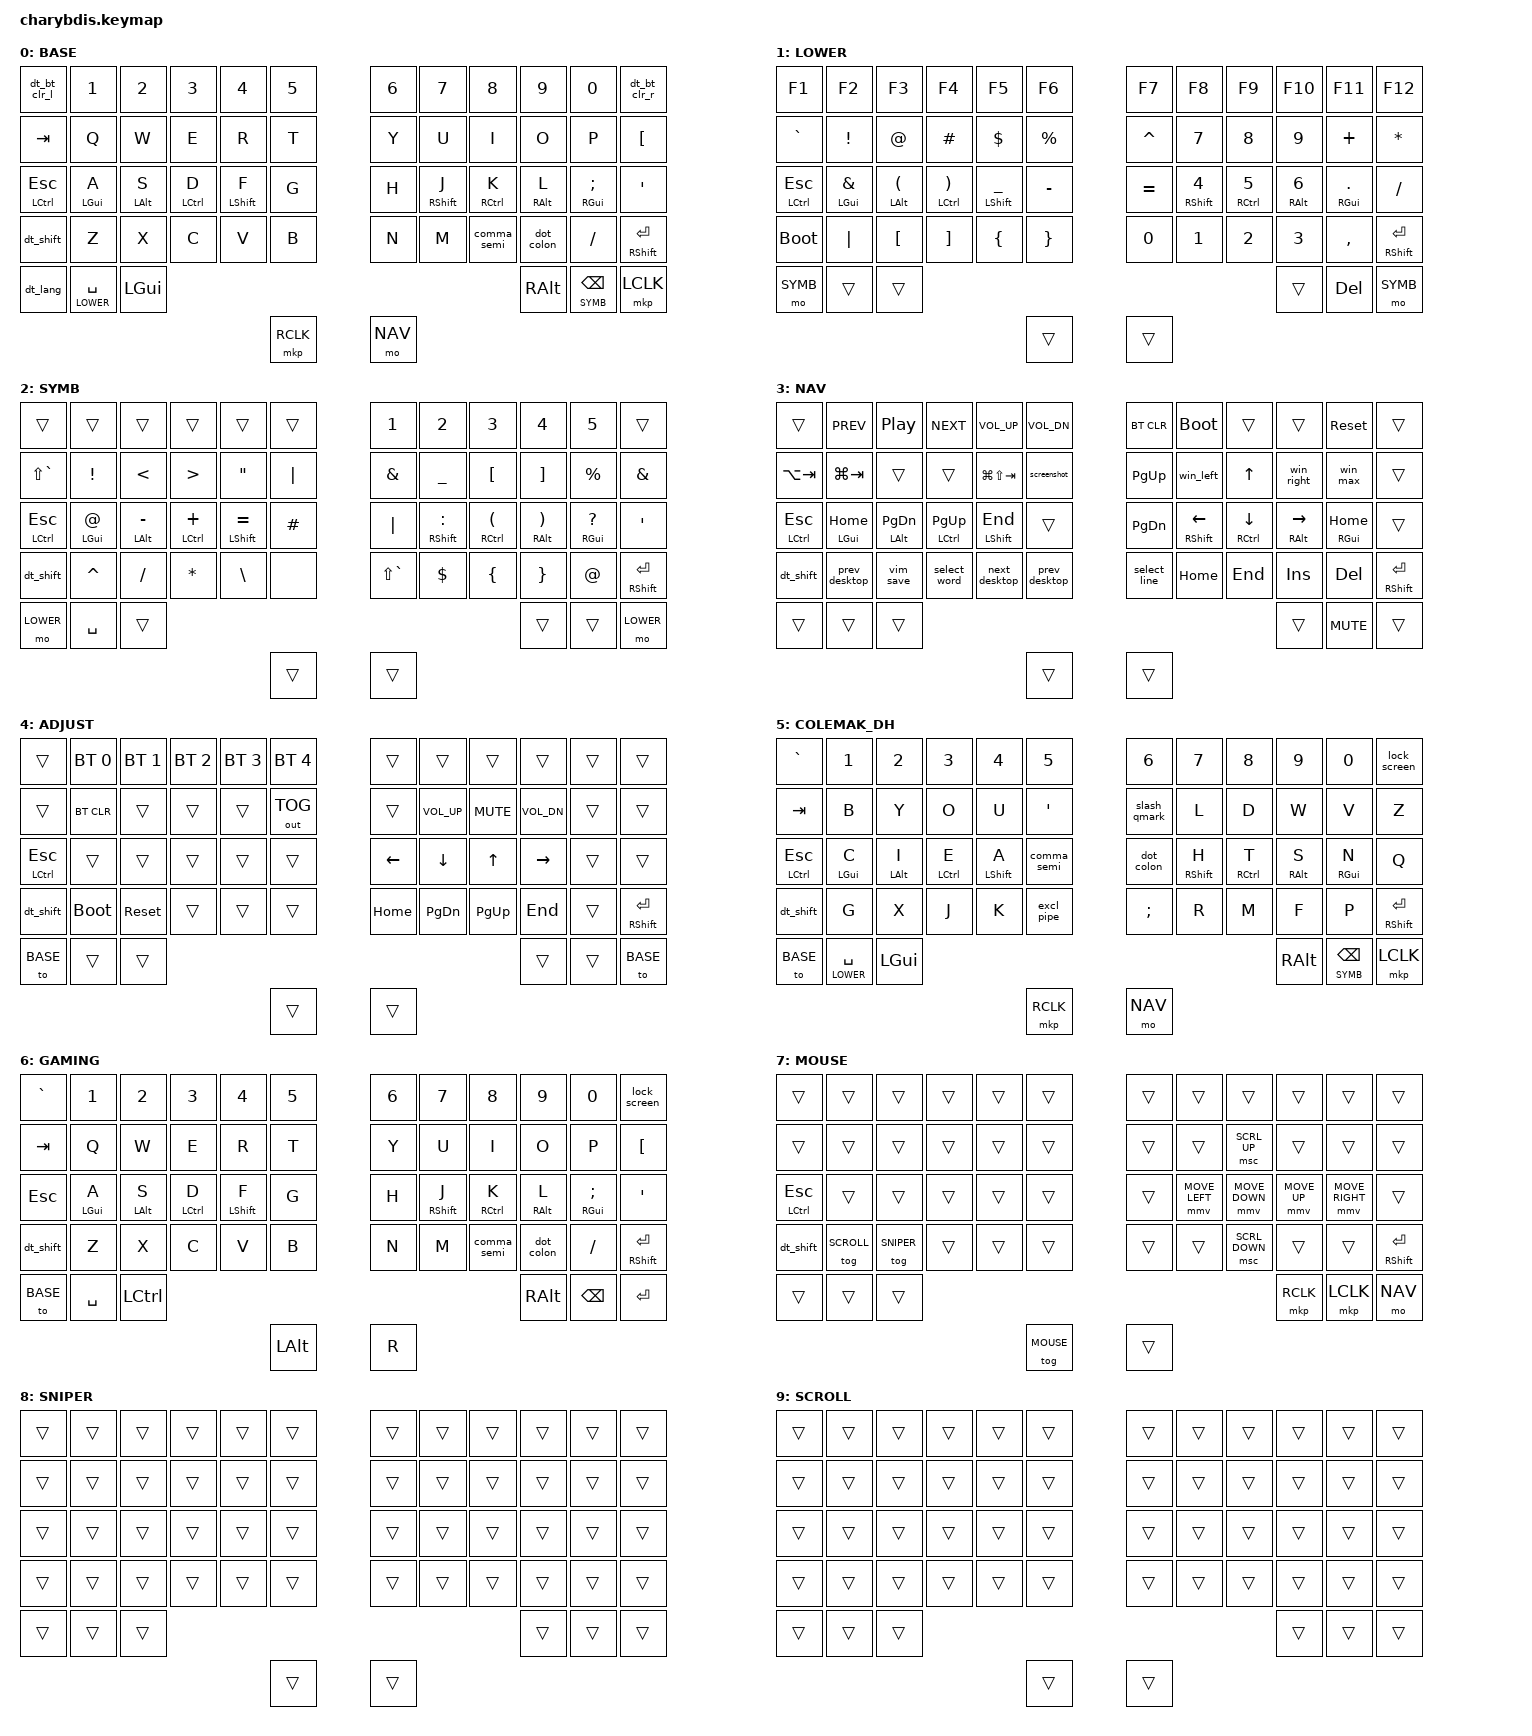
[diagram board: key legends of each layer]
/*
    Исправленный ZMK конфиг для Charybdis 4x6
    Адаптирован для совместимости с вашей версией ZMK
    Copyright (c) 2023 The ZMK Contributors
    SPDX-License-Identifier: MIT
*/

#include <behaviors.dtsi>
#include <dt-bindings/zmk/keys.h>
#include <dt-bindings/zmk/bt.h>
#include <dt-bindings/zmk/outputs.h>
#include <dt-bindings/zmk/mouse.h>

#define BASE 0
#define LOWER 1
#define SYMB 2
#define NAV 3
#define ADJUST 4
#define COLEMAK_DH 5
#define GAMING 6
#define MOUSE 7
#define SNIPER 8
#define SCROLL 9

// Оптимизированные глобальные настройки
&lt {
    tapping-term-ms = <180>;
    quick-tap-ms = <120>;
    flavor = "balanced";
};

&mt {
    tapping-term-ms = <190>;
    quick-tap-ms = <120>;
    flavor = "balanced";
};

&sk {
    release-after-ms = <1500>;
    quick-release;
};

&caps_word {
    continue-list = <UNDERSCORE MINUS BACKSPACE DELETE>;
};

/ {
    combos {
        compatible = "zmk,combos";
        
        // Частые символы одной рукой (только QWERTY слой)
        combo_esc {
            timeout-ms = <40>;
            key-positions = <13 14>;
            bindings = <&kp ESC>;
            layers = <BASE>;
        };
        
        combo_tab {
            timeout-ms = <40>;
            key-positions = <25 26>;
            bindings = <&kp TAB>;
            layers = <BASE>;
        };
        
        combo_enter {
            timeout-ms = <40>;
            key-positions = <33 34>;
            bindings = <&kp ENTER>;
            layers = <BASE>;
        };
        
        combo_del {
            timeout-ms = <40>;
            key-positions = <21 22>;
            bindings = <&kp DEL>;
            layers = <BASE>;
        };
        
        // Скобки разных типов (только QWERTY слой)
        combo_lpar {
            timeout-ms = <40>;
            key-positions = <15 16>;
            bindings = <&kp LPAR>;
            layers = <BASE>;
        };
        
        combo_rpar {
            timeout-ms = <40>;
            key-positions = <19 20>;
            bindings = <&kp RPAR>;
            layers = <BASE>;
        };
        
        combo_lbkt {
            timeout-ms = <40>;
            key-positions = <3 4>;
            bindings = <&kp LBKT>;
            layers = <BASE>;
        };
        
        combo_rbkt {
            timeout-ms = <40>;
            key-positions = <7 8>;
            bindings = <&kp RBKT>;
            layers = <BASE>;
        };
        
        combo_lbrc {
            timeout-ms = <40>;
            key-positions = <27 28>;
            bindings = <&kp LBRC>;
            layers = <BASE>;
        };
        
        combo_rbrc {
            timeout-ms = <40>;
            key-positions = <31 32>;
            bindings = <&kp RBRC>;
            layers = <BASE>;
        };
        
        // Специальные функции (только QWERTY слой)
        combo_caps_word {
            timeout-ms = <40>;
            key-positions = <16 19>;
            bindings = <&caps_word>;
            layers = <BASE>;
        };
        
        combo_cut {
            timeout-ms = <40>;
            key-positions = <26 27>;
            bindings = <&kp LC(X)>;
            layers = <BASE>;
        };
        
        combo_copy {
            timeout-ms = <40>;
            key-positions = <27 28>;
            bindings = <&kp LC(C)>;
            layers = <BASE>;
        };
        
        combo_paste {
            timeout-ms = <40>;
            key-positions = <28 29>;
            bindings = <&kp LC(V)>;
            layers = <BASE>;
        };
        
        combo_undo {
            timeout-ms = <40>;
            key-positions = <25 27>;
            bindings = <&kp LC(Z)>;
            layers = <BASE>;
        };
        
        combo_redo {
            timeout-ms = <40>;
            key-positions = <25 28>;
            bindings = <&kp LC(LS(Z))>;
            layers = <BASE>;
        };
        
        // Частые символы программирования (только QWERTY слой)
        combo_arrow {
            timeout-ms = <40>;
            key-positions = <20 21>;
            bindings = <&arrow_macro>;
            layers = <BASE>;
        };
        
        combo_fat_arrow {
            timeout-ms = <40>;
            key-positions = <32 33>;
            bindings = <&fat_arrow_macro>;
            layers = <BASE>;
        };

        // VS Code и vim комбинации (только QWERTY слой)
        combo_vscode_terminal {
            timeout-ms = <40>;
            key-positions = <14 15>;
            bindings = <&vscode_terminal>;
            layers = <BASE>;
        };

        combo_vscode_explorer {
            timeout-ms = <40>;
            key-positions = <15 16>;
            bindings = <&vscode_explorer>;
            layers = <BASE>;
        };

        combo_vscode_search {
            timeout-ms = <40>;
            key-positions = <16 17>;
            bindings = <&vscode_search>;
            layers = <BASE>;
        };

        combo_vscode_format {
            timeout-ms = <40>;
            key-positions = <17 18>;
            bindings = <&vscode_format>;
            layers = <BASE>;
        };

        combo_duplicate_line {
            timeout-ms = <40>;
            key-positions = <18 19>;
            bindings = <&duplicate_line>;
            layers = <BASE>;
        };

        combo_delete_line {
            timeout-ms = <40>;
            key-positions = <19 20>;
            bindings = <&delete_line>;
            layers = <BASE>;
        };

        combo_goto_definition {
            timeout-ms = <40>;
            key-positions = <20 21>;
            bindings = <&vscode_goto_definition>;
            layers = <BASE>;
        };

        combo_references {
            timeout-ms = <40>;
            key-positions = <21 22>;
            bindings = <&vscode_references>;
            layers = <BASE>;
        };

        // Комбинации для управления задачами (только QWERTY слой)
        combo_slack {
            timeout-ms = <40>;
            key-positions = <22 23>;
            bindings = <&slack_toggle>;
            layers = <BASE>;
        };

        combo_spotlight {
            timeout-ms = <40>;
            key-positions = <23 24>;
            bindings = <&spotlight>;
            layers = <BASE>;
        };

        // Vim комбинации (только QWERTY слой)
        combo_vim_save {
            timeout-ms = <40>;
            key-positions = <24 25>;
            bindings = <&vim_save>;
            layers = <BASE>;
        };

        combo_vim_quit {
            timeout-ms = <40>;
            key-positions = <25 26>;
            bindings = <&macro_press &kp LGUI &macro_tap &kp Q &macro_release &kp LGUI>;
            layers = <BASE>;
        };

        combo_vim_split {
            timeout-ms = <40>;
            key-positions = <26 27>;
            bindings = <&macro_press &kp LGUI &macro_tap &kp W &macro_tap &kp S &macro_release &kp LGUI>;
            layers = <BASE>;
        };

        combo_vim_vsplit {
            timeout-ms = <40>;
            key-positions = <27 28>;
            bindings = <&macro_press &kp LGUI &macro_tap &kp W &macro_tap &kp V &macro_release &kp LGUI>;
            layers = <BASE>;
        };

        // Дополнительные комбинации для VS Code (только QWERTY слой)
        combo_vscode_comment {
            timeout-ms = <40>;
            key-positions = <28 29>;
            bindings = <&vscode_comment_line>;
            layers = <BASE>;
        };

        combo_vscode_sidebar {
            timeout-ms = <40>;
            key-positions = <29 30>;
            bindings = <&vscode_toggle_sidebar>;
            layers = <BASE>;
        };

        combo_vscode_panel {
            timeout-ms = <40>;
            key-positions = <30 31>;
            bindings = <&vscode_toggle_panel>;
            layers = <BASE>;
        };

        combo_vscode_quick_open {
            timeout-ms = <40>;
            key-positions = <31 32>;
            bindings = <&vscode_quick_open>;
            layers = <BASE>;
        };

        combo_vscode_symbol_search {
            timeout-ms = <40>;
            key-positions = <32 33>;
            bindings = <&vscode_symbol_search>;
            layers = <BASE>;
        };

        combo_vscode_rename {
            timeout-ms = <40>;
            key-positions = <33 34>;
            bindings = <&vscode_rename_symbol>;
            layers = <BASE>;
        };

        combo_vscode_problems {
            timeout-ms = <40>;
            key-positions = <34 35>;
            bindings = <&vscode_show_problems>;
            layers = <BASE>;
        };

        // Комбинации для управления окнами macOS (только QWERTY слой)
        combo_app_expose {
            timeout-ms = <40>;
            key-positions = <35 36>;
            bindings = <&app_expose>;
            layers = <BASE>;
        };

        combo_mission_control {
            timeout-ms = <40>;
            key-positions = <36 37>;
            bindings = <&mission_control>;
            layers = <BASE>;
        };

        combo_app_switch {
            timeout-ms = <40>;
            key-positions = <37 38>;
            bindings = <&app_switch>;
            layers = <BASE>;
        };

        combo_reverse_app_switch {
            timeout-ms = <40>;
            key-positions = <38 39>;
            bindings = <&reverse_app_switch>;
            layers = <BASE>;
        };

        // Комбинации для работы с текстом (только QWERTY слой)
        combo_select_all {
            timeout-ms = <40>;
            key-positions = <39 40>;
            bindings = <&select_all>;
            layers = <BASE>;
        };

        combo_copy_all {
            timeout-ms = <40>;
            key-positions = <40 41>;
            bindings = <&copy_all>;
            layers = <BASE>;
        };

        combo_paste_plain {
            timeout-ms = <40>;
            key-positions = <41 42>;
            bindings = <&paste_without_formatting>;
            layers = <BASE>;
        };

        // Комбинации для браузера (только QWERTY слой)
        combo_browser_refresh {
            timeout-ms = <40>;
            key-positions = <42 43>;
            bindings = <&browser_refresh>;
            layers = <BASE>;
        };

        combo_browser_dev_tools {
            timeout-ms = <40>;
            key-positions = <0 1>;
            bindings = <&browser_dev_tools>;
            layers = <BASE>;
        };

        combo_browser_find {
            timeout-ms = <40>;
            key-positions = <1 2>;
            bindings = <&browser_find>;
            layers = <BASE>;
        };

        // Комбинации для управления задачами (только QWERTY слой)
        combo_todoist {
            timeout-ms = <40>;
            key-positions = <2 3>;
            bindings = <&todoist_toggle>;
            layers = <BASE>;
        };

        combo_notion {
            timeout-ms = <40>;
            key-positions = <3 4>;
            bindings = <&notion_toggle>;
            layers = <BASE>;
        };

        // Комбинации для системных функций (только QWERTY слой)
        combo_force_quit {
            timeout-ms = <40>;
            key-positions = <4 5>;
            bindings = <&force_quit>;
            layers = <BASE>;
        };

        combo_emoji {
            timeout-ms = <40>;
            key-positions = <5 6>;
            bindings = <&emoji_picker>;
            layers = <BASE>;
        };
    };

    behaviors {
        // Улучшенные home row mods
        hml: homerow_mods_left {
            compatible = "zmk,behavior-hold-tap";
            #binding-cells = <2>;
            tapping-term-ms = <280>;
            quick-tap-ms = <175>;
            flavor = "balanced";
            bindings = <&kp>, <&kp>;
            hold-trigger-key-positions = <6 7 8 9 10 11 18 19 20 21 22 23 30 31 32 33 34 35 39 40 41 42 43>;
            hold-trigger-on-release;
        };

        hmr: homerow_mods_right {
            compatible = "zmk,behavior-hold-tap";
            #binding-cells = <2>;
            tapping-term-ms = <280>;
            quick-tap-ms = <175>;
            flavor = "balanced";
            bindings = <&kp>, <&kp>;
            hold-trigger-key-positions = <0 1 2 3 4 5 12 13 14 15 16 17 24 25 26 27 28 29 36 37 38>;
            hold-trigger-on-release;
        };
        
        // Улучшенный Ctrl/Esc
        mt_lctl_esc: mt_lctl_esc {
            compatible = "zmk,behavior-hold-tap";
            #binding-cells = <2>;
            tapping-term-ms = <175>;
            quick-tap-ms = <120>;
            flavor = "balanced";
            bindings = <&kp>, <&kp>;
        };

        mt_rsft_ent: mt_rsft_ent {
            compatible = "zmk,behavior-hold-tap";
            #binding-cells = <2>;
            tapping-term-ms = <190>;
            quick-tap-ms = <120>;
            flavor = "balanced";
            bindings = <&kp>, <&kp>;
        };

        // Sticky keys с настройками для комфорта
        ss: sticky_shift {
            compatible = "zmk,behavior-sticky-key";
            #binding-cells = <1>;
            bindings = <&kp>;
            release-after-ms = <1200>;
            quick-release;
        };
        
        // Интеллектуальная смена слоя/клавиши
        smart_layer: smart_layer {
            compatible = "zmk,behavior-hold-tap";
            #binding-cells = <2>;
            tapping-term-ms = <190>;
            quick-tap-ms = <120>;
            flavor = "balanced";
            bindings = <&mo>, <&kp>;
        };

        // Tap dance для множественных функций
        dt_lang: dt_lang {
            compatible = "zmk,behavior-tap-dance";
            #binding-cells = <0>;
            tapping-term-ms = <250>;
            bindings = <&lang_switch>, <&to COLEMAK_DH>, <&to GAMING>;
        };
        
        dt_shift: dt_shift {
            compatible = "zmk,behavior-tap-dance";
            #binding-cells = <0>;
            tapping-term-ms = <200>;
            bindings = <&ss LSHFT>, <&caps_word>, <&kp CAPS>;
        };

        // Tap dance для VS Code и vim
        dt_esc: dt_esc {
            compatible = "zmk,behavior-tap-dance";
            #binding-cells = <0>;
            tapping-term-ms = <200>;
            bindings = <&kp ESC>, <&vim_save>, <&vscode_command_palette>;
        };

        dt_tab: dt_tab {
            compatible = "zmk,behavior-tap-dance";
            #binding-cells = <0>;
            tapping-term-ms = <200>;
            bindings = <&kp TAB>, <&new_tab>, <&close_tab>;
        };

        dt_enter: dt_enter {
            compatible = "zmk,behavior-tap-dance";
            #binding-cells = <0>;
            tapping-term-ms = <200>;
            bindings = <&kp ENTER>, <&vscode_terminal>, <&vscode_git>;
        };

        dt_space: dt_space {
            compatible = "zmk,behavior-tap-dance";
            #binding-cells = <0>;
            tapping-term-ms = <200>;
            bindings = <&kp SPACE>, <&vscode_search>, <&spotlight>;
        };

        // BT Clear tap-dance (5 taps) — работает независимо на каждой половине
        dt_bt_clr_l: dt_bt_clr_l {
            compatible = "zmk,behavior-tap-dance";
            #binding-cells = <0>;
            tapping-term-ms = <350>;
            bindings = <&kp GRAVE>, <&none>, <&none>, <&none>, <&bt BT_CLR>;
        };

        dt_bt_clr_r: dt_bt_clr_r {
            compatible = "zmk,behavior-tap-dance";
            #binding-cells = <0>;
            tapping-term-ms = <350>;
            bindings = <&lock_screen>, <&none>, <&none>, <&none>, <&bt BT_CLR>;
        };

        // Mod morphs для символов
        comma_semi: comma_semicolon {
            compatible = "zmk,behavior-mod-morph";
            #binding-cells = <0>;
            bindings = <&kp COMMA>, <&kp SEMICOLON>;
            mods = <(MOD_LSFT|MOD_RSFT)>;
        };

        dot_colon: dot_colon {
            compatible = "zmk,behavior-mod-morph";
            #binding-cells = <0>;
            bindings = <&kp DOT>, <&kp COLON>;
            mods = <(MOD_LSFT|MOD_RSFT)>;
        };
        
        slash_qmark: slash_question {
            compatible = "zmk,behavior-mod-morph";
            #binding-cells = <0>;
            bindings = <&kp FSLH>, <&kp QMARK>;
            mods = <(MOD_LSFT|MOD_RSFT)>;
        };
        
        excl_pipe: exclamation_pipe {
            compatible = "zmk,behavior-mod-morph";
            #binding-cells = <0>;
            bindings = <&kp EXCL>, <&kp PIPE>;
            mods = <(MOD_LSFT|MOD_RSFT)>;
        };
    };

    macros {
        // Переключение языка
        lang_switch: lang_switch {
            compatible = "zmk,behavior-macro";
            #binding-cells = <0>;
            wait-ms = <0>;
            tap-ms = <5>;
            bindings = <&macro_press &kp LGUI>,
                       <&macro_tap &kp SPACE>,
                       <&macro_release &kp LGUI>;
        };

        // Блокировка экрана macOS
        lock_screen: lock_screen {
            compatible = "zmk,behavior-macro";
            #binding-cells = <0>;
            wait-ms = <0>;
            tap-ms = <5>;
            bindings = <&macro_press &kp LGUI &kp LCTRL>,
                       <&macro_tap &kp Q>,
                       <&macro_release &kp LGUI &kp LCTRL>;
        };

        // Навигация по рабочим столам
        next_desktop: next_desktop {
            compatible = "zmk,behavior-macro";
            #binding-cells = <0>;
            wait-ms = <0>;
            tap-ms = <5>;
            bindings = <&macro_press &kp LCTRL>,
                       <&macro_tap &kp RIGHT>,
                       <&macro_release &kp LCTRL>;
        };

        prev_desktop: prev_desktop {
            compatible = "zmk,behavior-macro";
            #binding-cells = <0>;
            wait-ms = <0>;
            tap-ms = <5>;
            bindings = <&macro_press &kp LCTRL>,
                       <&macro_tap &kp LEFT>,
                       <&macro_release &kp LCTRL>;
        };

        // Оконный менеджмент
        win_max: window_maximize {
            compatible = "zmk,behavior-macro";
            #binding-cells = <0>;
            wait-ms = <0>;
            tap-ms = <5>;
            bindings = <&macro_press &kp LGUI>,
                       <&macro_tap &kp UP>,
                       <&macro_release &kp LGUI>;
        };

        win_left: window_left {
            compatible = "zmk,behavior-macro";
            #binding-cells = <0>;
            wait-ms = <0>;
            tap-ms = <5>;
            bindings = <&macro_press &kp LGUI>,
                       <&macro_tap &kp LEFT>,
                       <&macro_release &kp LGUI>;
        };

        win_right: window_right {
            compatible = "zmk,behavior-macro";
            #binding-cells = <0>;
            wait-ms = <0>;
            tap-ms = <5>;
            bindings = <&macro_press &kp LGUI>,
                       <&macro_tap &kp RIGHT>,
                       <&macro_release &kp LGUI>;
        };

        // Быстрые действия
        screenshot: screenshot {
            compatible = "zmk,behavior-macro";
            #binding-cells = <0>;
            wait-ms = <0>;
            tap-ms = <5>;
            bindings = <&macro_press &kp LGUI &kp LSHFT>,
                       <&macro_tap &kp S>,
                       <&macro_release &kp LGUI &kp LSHFT>;
        };

        select_word: select_word {
            compatible = "zmk,behavior-macro";
            #binding-cells = <0>;
            wait-ms = <0>;
            tap-ms = <5>;
            bindings = <&macro_press &kp LCTRL>,
                       <&macro_tap &kp RIGHT>,
                       <&macro_press &kp LSHFT>,
                       <&macro_tap &kp LEFT>,
                       <&macro_release &kp LCTRL &kp LSHFT>;
        };
        
        select_line: select_line {
            compatible = "zmk,behavior-macro";
            #binding-cells = <0>;
            wait-ms = <0>;
            tap-ms = <5>;
            bindings = <&macro_tap &kp HOME>,
                       <&macro_press &kp LSHFT>,
                       <&macro_tap &kp END>,
                       <&macro_release &kp LSHFT>;
        };

        // Символы программирования
        arrow_macro: arrow_macro {
            compatible = "zmk,behavior-macro";
            #binding-cells = <0>;
            wait-ms = <0>;
            tap-ms = <5>;
            bindings = <&macro_tap &kp MINUS &kp GT>;
        };
        
        fat_arrow_macro: fat_arrow_macro {
            compatible = "zmk,behavior-macro";
            #binding-cells = <0>;
            wait-ms = <0>;
            tap-ms = <5>;
            bindings = <&macro_tap &kp EQUAL &kp GT>;
        };
        
        // Vim команды (macOS оптимизированные)
        vim_save: vim_save {
            compatible = "zmk,behavior-macro";
            #binding-cells = <0>;
            wait-ms = <0>;
            tap-ms = <5>;
            bindings = <&macro_press &kp LGUI>,
                       <&macro_tap &kp S>,
                       <&macro_release &kp LGUI>;
        };

        // VS Code макросы для программиста-менеджера (macOS оптимизированные)
        vscode_terminal: vscode_terminal {
            compatible = "zmk,behavior-macro";
            #binding-cells = <0>;
            wait-ms = <0>;
            tap-ms = <5>;
            bindings = <&macro_press &kp LCTRL>,
                       <&macro_tap &kp GRAVE>,
                       <&macro_release &kp LCTRL>;
        };

        vscode_explorer: vscode_explorer {
            compatible = "zmk,behavior-macro";
            #binding-cells = <0>;
            wait-ms = <0>;
            tap-ms = <5>;
            bindings = <&macro_press &kp LGUI &kp LSHFT>,
                       <&macro_tap &kp E>,
                       <&macro_release &kp LGUI &kp LSHFT>;
        };

        vscode_search: vscode_search {
            compatible = "zmk,behavior-macro";
            #binding-cells = <0>;
            wait-ms = <0>;
            tap-ms = <5>;
            bindings = <&macro_press &kp LGUI &kp LSHFT>,
                       <&macro_tap &kp F>,
                       <&macro_release &kp LGUI &kp LSHFT>;
        };

        vscode_command_palette: vscode_command_palette {
            compatible = "zmk,behavior-macro";
            #binding-cells = <0>;
            wait-ms = <0>;
            tap-ms = <5>;
            bindings = <&macro_press &kp LGUI &kp LSHFT>,
                       <&macro_tap &kp P>,
                       <&macro_release &kp LGUI &kp LSHFT>;
        };

        vscode_git: vscode_git {
            compatible = "zmk,behavior-macro";
            #binding-cells = <0>;
            wait-ms = <0>;
            tap-ms = <5>;
            bindings = <&macro_press &kp LGUI &kp LSHFT>,
                       <&macro_tap &kp G>,
                       <&macro_release &kp LGUI &kp LSHFT>;
        };

        // Макросы для управления задачами и мессенджерами
        slack_toggle: slack_toggle {
            compatible = "zmk,behavior-macro";
            #binding-cells = <0>;
            wait-ms = <0>;
            tap-ms = <5>;
            bindings = <&macro_press &kp LGUI &kp LSHFT>,
                       <&macro_tap &kp S>,
                       <&macro_release &kp LGUI &kp LSHFT>;
        };

        spotlight: spotlight {
            compatible = "zmk,behavior-macro";
            #binding-cells = <0>;
            wait-ms = <0>;
            tap-ms = <5>;
            bindings = <&macro_press &kp LGUI>,
                       <&macro_tap &kp SPACE>,
                       <&macro_release &kp LGUI>;
        };

        // Макросы для форматирования кода
        vscode_format: vscode_format {
            compatible = "zmk,behavior-macro";
            #binding-cells = <0>;
            wait-ms = <0>;
            tap-ms = <5>;
            bindings = <&macro_press &kp LSHFT &kp LALT>,
                       <&macro_tap &kp F>,
                       <&macro_release &kp LSHFT &kp LALT>;
        };

        // Макросы для навигации по коду
        vscode_goto_definition: vscode_goto_definition {
            compatible = "zmk,behavior-macro";
            #binding-cells = <0>;
            wait-ms = <0>;
            tap-ms = <5>;
            bindings = <&macro_press &kp F12>,
                       <&macro_release &kp F12>;
        };

        vscode_references: vscode_references {
            compatible = "zmk,behavior-macro";
            #binding-cells = <0>;
            wait-ms = <0>;
            tap-ms = <5>;
            bindings = <&macro_press &kp LSHFT &kp F12>,
                       <&macro_release &kp LSHFT &kp F12>;
        };

        // Макросы для работы с текстом
        duplicate_line: duplicate_line {
            compatible = "zmk,behavior-macro";
            #binding-cells = <0>;
            wait-ms = <0>;
            tap-ms = <5>;
            bindings = <&macro_press &kp LALT>,
                       <&macro_tap &kp D>,
                       <&macro_release &kp LALT>;
        };

        delete_line: delete_line {
            compatible = "zmk,behavior-macro";
            #binding-cells = <0>;
            wait-ms = <0>;
            tap-ms = <5>;
            bindings = <&macro_press &kp LGUI &kp LSHFT>,
                       <&macro_tap &kp K>,
                       <&macro_release &kp LGUI &kp LSHFT>;
        };

        // Макросы для работы с вкладками
        new_tab: new_tab {
            compatible = "zmk,behavior-macro";
            #binding-cells = <0>;
            wait-ms = <0>;
            tap-ms = <5>;
            bindings = <&macro_press &kp LGUI &kp LSHFT>,
                       <&macro_tap &kp T>,
                       <&macro_release &kp LGUI &kp LSHFT>;
        };

        close_tab: close_tab {
            compatible = "zmk,behavior-macro";
            #binding-cells = <0>;
            wait-ms = <0>;
            tap-ms = <5>;
            bindings = <&macro_press &kp LGUI &kp LSHFT>,
                       <&macro_tap &kp W>,
                       <&macro_release &kp LGUI &kp LSHFT>;
        };

        // Дополнительные макросы для программиста-менеджера
        vscode_comment_line: vscode_comment_line {
            compatible = "zmk,behavior-macro";
            #binding-cells = <0>;
            wait-ms = <0>;
            tap-ms = <5>;
            bindings = <&macro_press &kp LGUI>,
                       <&macro_tap &kp SLASH>,
                       <&macro_release &kp LGUI>;
        };

        vscode_toggle_sidebar: vscode_toggle_sidebar {
            compatible = "zmk,behavior-macro";
            #binding-cells = <0>;
            wait-ms = <0>;
            tap-ms = <5>;
            bindings = <&macro_press &kp LGUI>,
                       <&macro_tap &kp B>,
                       <&macro_release &kp LGUI>;
        };

        vscode_toggle_panel: vscode_toggle_panel {
            compatible = "zmk,behavior-macro";
            #binding-cells = <0>;
            wait-ms = <0>;
            tap-ms = <5>;
            bindings = <&macro_press &kp LGUI>,
                       <&macro_tap &kp J>,
                       <&macro_release &kp LGUI>;
        };

        vscode_quick_open: vscode_quick_open {
            compatible = "zmk,behavior-macro";
            #binding-cells = <0>;
            wait-ms = <0>;
            tap-ms = <5>;
            bindings = <&macro_press &kp LGUI>,
                       <&macro_tap &kp P>,
                       <&macro_release &kp LGUI>;
        };

        vscode_symbol_search: vscode_symbol_search {
            compatible = "zmk,behavior-macro";
            #binding-cells = <0>;
            wait-ms = <0>;
            tap-ms = <5>;
            bindings = <&macro_press &kp LGUI &kp LSHFT>,
                       <&macro_tap &kp O>,
                       <&macro_release &kp LGUI &kp LSHFT>;
        };

        vscode_rename_symbol: vscode_rename_symbol {
            compatible = "zmk,behavior-macro";
            #binding-cells = <0>;
            wait-ms = <0>;
            tap-ms = <5>;
            bindings = <&macro_press &kp F2>,
                       <&macro_release &kp F2>;
        };

        vscode_show_problems: vscode_show_problems {
            compatible = "zmk,behavior-macro";
            #binding-cells = <0>;
            wait-ms = <0>;
            tap-ms = <5>;
            bindings = <&macro_press &kp LGUI &kp LSHFT>,
                       <&macro_tap &kp M>,
                       <&macro_release &kp LGUI &kp LSHFT>;
        };

        // Макросы для управления окнами macOS
        app_expose: app_expose {
            compatible = "zmk,behavior-macro";
            #binding-cells = <0>;
            wait-ms = <0>;
            tap-ms = <5>;
            bindings = <&macro_press &kp LCTRL>,
                       <&macro_tap &kp DOWN>,
                       <&macro_release &kp LCTRL>;
        };

        mission_control: mission_control {
            compatible = "zmk,behavior-macro";
            #binding-cells = <0>;
            wait-ms = <0>;
            tap-ms = <5>;
            bindings = <&macro_press &kp LCTRL>,
                       <&macro_tap &kp UP>,
                       <&macro_release &kp LCTRL>;
        };

        app_switch: app_switch {
            compatible = "zmk,behavior-macro";
            #binding-cells = <0>;
            wait-ms = <0>;
            tap-ms = <5>;
            bindings = <&macro_press &kp LGUI>,
                       <&macro_tap &kp TAB>,
                       <&macro_release &kp LGUI>;
        };

        reverse_app_switch: reverse_app_switch {
            compatible = "zmk,behavior-macro";
            #binding-cells = <0>;
            wait-ms = <0>;
            tap-ms = <5>;
            bindings = <&macro_press &kp LGUI &kp LSHFT>,
                       <&macro_tap &kp TAB>,
                       <&macro_release &kp LGUI &kp LSHFT>;
        };

        // Макросы для работы с текстом
        select_all: select_all {
            compatible = "zmk,behavior-macro";
            #binding-cells = <0>;
            wait-ms = <0>;
            tap-ms = <5>;
            bindings = <&macro_press &kp LGUI>,
                       <&macro_tap &kp A>,
                       <&macro_release &kp LGUI>;
        };

        copy_all: copy_all {
            compatible = "zmk,behavior-macro";
            #binding-cells = <0>;
            wait-ms = <0>;
            tap-ms = <5>;
            bindings = <&macro_press &kp LGUI>,
                       <&macro_tap &kp A>,
                       <&macro_release &kp LGUI>,
                       <&macro_press &kp LGUI>,
                       <&macro_tap &kp C>,
                       <&macro_release &kp LGUI>;
        };

        paste_without_formatting: paste_without_formatting {
            compatible = "zmk,behavior-macro";
            #binding-cells = <0>;
            wait-ms = <0>;
            tap-ms = <5>;
            bindings = <&macro_press &kp LGUI &kp LSHFT &kp LALT>,
                       <&macro_tap &kp V>,
                       <&macro_release &kp LGUI &kp LSHFT &kp LALT>;
        };

        // Макросы для браузера
        browser_refresh: browser_refresh {
            compatible = "zmk,behavior-macro";
            #binding-cells = <0>;
            wait-ms = <0>;
            tap-ms = <5>;
            bindings = <&macro_press &kp LGUI>,
                       <&macro_tap &kp R>,
                       <&macro_release &kp LGUI>;
        };

        browser_dev_tools: browser_dev_tools {
            compatible = "zmk,behavior-macro";
            #binding-cells = <0>;
            wait-ms = <0>;
            tap-ms = <5>;
            bindings = <&macro_press &kp LGUI &kp LALT>,
                       <&macro_tap &kp I>,
                       <&macro_release &kp LGUI &kp LALT>;
        };

        browser_find: browser_find {
            compatible = "zmk,behavior-macro";
            #binding-cells = <0>;
            wait-ms = <0>;
            tap-ms = <5>;
            bindings = <&macro_press &kp LGUI>,
                       <&macro_tap &kp F>,
                       <&macro_release &kp LGUI>;
        };

        // Макросы для управления задачами
        todoist_toggle: todoist_toggle {
            compatible = "zmk,behavior-macro";
            #binding-cells = <0>;
            wait-ms = <0>;
            tap-ms = <5>;
            bindings = <&macro_press &kp LGUI &kp LSHFT>,
                       <&macro_tap &kp T>,
                       <&macro_release &kp LGUI &kp LSHFT>;
        };

        notion_toggle: notion_toggle {
            compatible = "zmk,behavior-macro";
            #binding-cells = <0>;
            wait-ms = <0>;
            tap-ms = <5>;
            bindings = <&macro_press &kp LGUI &kp LSHFT>,
                       <&macro_tap &kp N>,
                       <&macro_release &kp LGUI &kp LSHFT>;
        };

        // Макросы для системных функций
        force_quit: force_quit {
            compatible = "zmk,behavior-macro";
            #binding-cells = <0>;
            wait-ms = <0>;
            tap-ms = <5>;
            bindings = <&macro_press &kp LGUI &kp LALT>,
                       <&macro_tap &kp ESC>,
                       <&macro_release &kp LGUI &kp LALT>;
        };

        emoji_picker: emoji_picker {
            compatible = "zmk,behavior-macro";
            #binding-cells = <0>;
            wait-ms = <0>;
            tap-ms = <5>;
            bindings = <&macro_press &kp LGUI &kp LCTRL>,
                       <&macro_tap &kp SPACE>,
                       <&macro_release &kp LGUI &kp LCTRL>;
        };
    };

    conditional_layers {
        compatible = "zmk,conditional-layers";
        tri_layer {
            if-layers = <LOWER SYMB>;
            then-layer = <ADJUST>;
        };
    };

    keymap {
        compatible = "zmk,keymap";

        // Основной слой (QWERTY)
        BASE {
            bindings = <
    &dt_bt_clr_l       &kp N1             &kp N2             &kp N3             &kp N4             &kp N5                                                     &kp N6             &kp N7             &kp N8             &kp N9             &kp N0               &dt_bt_clr_r
    &kp TAB            &kp Q              &kp W              &kp E              &kp R              &kp T                                                      &kp Y              &kp U              &kp I              &kp O              &kp P                &kp LBKT
    &mt_lctl_esc LCTRL ESC  &hml LGUI A   &hml LALT S        &hml LCTRL D       &hml LSHFT F       &kp G                                                      &kp H              &hmr RSHFT J       &hmr RCTRL K       &hmr RALT L        &hmr RGUI SEMI       &kp SQT
    &dt_shift          &kp Z              &kp X              &kp C              &kp V              &kp B                                                      &kp N              &kp M              &comma_semi        &dot_colon         &kp FSLH             &mt_rsft_ent RSHFT ENTER
                                                              &dt_lang               &smart_layer LOWER SPACE &kp LGUI                                              &kp RALT           &smart_layer SYMB BSPC &mkp LCLK
                                                                                 &mkp RCLK          &mo NAV
            >;
        };

        // Цифры, F-клавиши и математика
        LOWER {
            bindings = <
    &kp F1             &kp F2             &kp F3             &kp F4             &kp F5             &kp F6                                                     &kp F7             &kp F8             &kp F9             &kp F10            &kp F11              &kp F12
    &kp GRAVE          &kp EXCL           &kp AT             &kp HASH           &kp DLLR           &kp PRCNT                                                  &kp CARET          &kp N7             &kp N8             &kp N9             &kp PLUS             &kp STAR
    &mt_lctl_esc LCTRL ESC &hml LGUI AMPS     &hml LALT LPAR     &hml LCTRL RPAR    &hml LSHFT UNDER   &kp MINUS                                                  &kp EQUAL          &hmr RSHFT N4      &hmr RCTRL N5      &hmr RALT N6       &hmr RGUI DOT        &kp FSLH
    &bootloader        &kp PIPE           &kp LBKT           &kp RBKT           &kp LBRC           &kp RBRC                                                   &kp N0             &kp N1             &kp N2             &kp N3             &kp COMMA            &mt_rsft_ent RSHFT ENTER
                                                              &mo SYMB           &trans             &trans                                                     &trans             &kp DEL            &mo SYMB
                                                                                 &trans             &trans
            >;
        };

        // Символы и специальные клавиши
        SYMB {
            bindings = <
    &trans             &trans             &trans             &trans             &trans             &trans                                                     &kp N1             &kp N2             &kp N3             &kp N4             &kp N5               &trans
    &kp LS(GRAVE)               &kp EXCL           &kp LT             &kp GT             &kp DQT            &kp PIPE                                                   &kp AMPS        &kp UNDER          &kp LBKT           &kp RBKT           &kp PRCNT            &kp AMPS
    &mt_lctl_esc LCTRL ESC &hml LGUI AT       &hml LALT MINUS    &hml LCTRL PLUS    &hml LSHFT EQUAL   &kp HASH                                                   &kp PIPE        &hmr RSHFT COLON   &hmr RCTRL LPAR    &hmr RALT RPAR     &hmr RGUI QMARK      &kp SQT
    &dt_shift          &kp CARET          &kp FSLH           &kp STAR           &kp BSLH           &none                                                      &kp LS(GRAVE)            &kp DLLR           &kp LBRC           &kp RBRC           &kp AT               &mt_rsft_ent RSHFT ENTER
                                                              &mo LOWER          &kp SPACE          &trans                                                     &trans             &trans             &mo LOWER
                                                                                 &trans             &trans
            >;
        };

        // Навигация, мультимедиа и системные функции
        NAV {
            bindings = <
    &trans             &kp C_PREV           &kp C_PP             &kp C_NEXT        &kp C_VOL_UP    &kp C_VOL_DN                                                 &bt BT_CLR         &bootloader          &trans             &trans             &sys_reset               &trans
    &kp LA(TAB)        &kp LG(TAB)          &trans               &trans       &kp LG(LS(TAB))     &screenshot                                                &kp PG_UP          &win_left          &kp UP             &win_right         &win_max             &trans
    &mt_lctl_esc LCTRL ESC &hml LGUI HOME     &hml LALT PG_DN    &hml LCTRL PG_UP   &hml LSHFT END     &trans                                               &kp PG_DN          &hmr RSHFT LEFT    &hmr RCTRL DOWN    &hmr RALT RIGHT    &hmr RGUI HOME       &trans
    &dt_shift          &prev_desktop      &vim_save         &select_word       &next_desktop      &prev_desktop                                              &select_line       &kp HOME           &kp END            &kp INS            &kp DEL              &mt_rsft_ent RSHFT ENTER
                                                              &trans             &trans             &trans                                                     &trans             &kp C_MUTE         &trans
                                                                                 &trans             &trans
            >;
        };

        // Настройки, Bluetooth и отладка
        ADJUST {
            bindings = <
    &trans             &bt BT_SEL 0       &bt BT_SEL 1       &bt BT_SEL 2       &bt BT_SEL 3       &bt BT_SEL 4                                               &trans             &trans             &trans             &trans             &trans               &trans
    &trans             &bt BT_CLR         &trans             &trans             &trans             &out OUT_TOG                                               &trans             &kp C_VOL_UP       &kp C_MUTE         &kp C_VOL_DN       &trans               &trans
    &mt_lctl_esc LCTRL ESC &trans             &trans             &trans             &trans             &trans                                                     &kp LEFT           &kp DOWN           &kp UP             &kp RIGHT          &trans               &trans
    &dt_shift          &bootloader        &sys_reset         &trans             &trans             &trans                                                     &kp HOME           &kp PG_DN          &kp PG_UP          &kp END            &trans               &mt_rsft_ent RSHFT ENTER
                                                              &to BASE           &trans             &trans                                                     &trans             &trans             &to BASE
                                                                                 &trans             &trans
            >;
        };

        // Colemak-DH слой (бывший основной)
        COLEMAK_DH {
            bindings = <
    &kp GRAVE              &kp N1                 &kp N2                 &kp N3                 &kp N4                 &kp N5                                                             &kp N6                 &kp N7                 &kp N8                 &kp N9                 &kp N0                 &lock_screen
    &kp TAB                &kp B                  &kp Y                  &kp O                  &kp U                  &kp SQT                                                            &slash_qmark           &kp L                  &kp D                  &kp W                  &kp V                  &kp Z
    &mt_lctl_esc LCTRL ESC &hml LGUI C            &hml LALT I            &hml LCTRL E           &hml LSHFT A           &comma_semi                                                        &dot_colon             &hmr RSHFT H           &hmr RCTRL T           &hmr RALT S            &hmr RGUI N            &kp Q
    &dt_shift              &kp G                  &kp X                  &kp J                  &kp K                  &excl_pipe                                                         &kp SEMI               &kp R                  &kp M                  &kp F                  &kp P                  &mt_rsft_ent RSHFT ENTER
                                                                          &to BASE           &smart_layer LOWER SPACE &kp LGUI                                                         &kp RALT               &smart_layer SYMB BSPC &mkp LCLK
                                                                                                 &mkp RCLK              &mo NAV
            >;
        };

        // Игровой слой (с home row mods для удобства)
        GAMING {
            bindings = <
    &kp GRAVE          &kp N1             &kp N2             &kp N3             &kp N4             &kp N5                                                     &kp N6             &kp N7             &kp N8             &kp N9             &kp N0               &lock_screen
    &kp TAB            &kp Q              &kp W              &kp E              &kp R              &kp T                                                      &kp Y              &kp U              &kp I              &kp O              &kp P                &kp LBKT
    &kp ESC            &hml LGUI A        &hml LALT S        &hml LCTRL D       &hml LSHFT F       &kp G                                                      &kp H              &hmr RSHFT J       &hmr RCTRL K       &hmr RALT L        &hmr RGUI SEMI       &kp SQT
    &dt_shift          &kp Z              &kp X              &kp C              &kp V              &kp B                                                      &kp N              &kp M              &comma_semi        &dot_colon         &kp FSLH             &mt_rsft_ent RSHFT ENTER
                                                              &to BASE           &kp SPACE          &kp LCTRL                                                  &kp RALT           &kp BSPC           &kp ENTER
                                                                                 &kp LALT           &kp R
            >;
        };

        // Мышиный слой (с home row mods для удобства)
        MOUSE {
            bindings = <
    &trans             &trans             &trans             &trans             &trans             &trans                                                     &trans             &trans             &trans             &trans             &trans               &trans
    &trans             &trans             &trans             &trans             &trans             &trans                                                     &trans             &trans             &msc SCRL_UP       &trans             &trans               &trans
    &mt_lctl_esc LCTRL ESC &trans             &trans             &trans             &trans             &trans                                                     &trans             &mmv MOVE_LEFT     &mmv MOVE_DOWN     &mmv MOVE_UP       &mmv MOVE_RIGHT      &trans
    &dt_shift          &tog SCROLL        &tog SNIPER        &trans             &trans             &trans                                                     &trans             &trans             &msc SCRL_DOWN     &trans             &trans               &mt_rsft_ent RSHFT ENTER
                                                              &trans             &trans             &trans                                                     &mkp RCLK          &mkp LCLK          &mo NAV
                                                                                 &tog MOUSE         &trans
            >;
        };

        SNIPER {
            bindings = <
    &trans  &trans  &trans  &trans  &trans  &trans                                                     &trans  &trans  &trans  &trans  &trans  &trans
    &trans  &trans  &trans  &trans  &trans  &trans                                                     &trans  &trans  &trans  &trans  &trans  &trans
    &trans  &trans  &trans  &trans  &trans  &trans                                                     &trans  &trans  &trans  &trans  &trans  &trans
    &trans  &trans  &trans  &trans  &trans  &trans                                                     &trans  &trans  &trans  &trans  &trans  &trans
                                            &trans  &trans  &trans                     &trans  &trans  &trans
                                                    &trans  &trans
            >;
        };

        SCROLL {
            bindings = <
    &trans  &trans  &trans  &trans  &trans  &trans                                                     &trans  &trans  &trans  &trans  &trans  &trans
    &trans  &trans  &trans  &trans  &trans  &trans                                                     &trans  &trans  &trans  &trans  &trans  &trans
    &trans  &trans  &trans  &trans  &trans  &trans                                                     &trans  &trans  &trans  &trans  &trans  &trans
    &trans  &trans  &trans  &trans  &trans  &trans                                                     &trans  &trans  &trans  &trans  &trans  &trans
                                            &trans  &trans  &trans                     &trans  &trans  &trans
                                                    &trans  &trans
            >;
        };
    };
};
